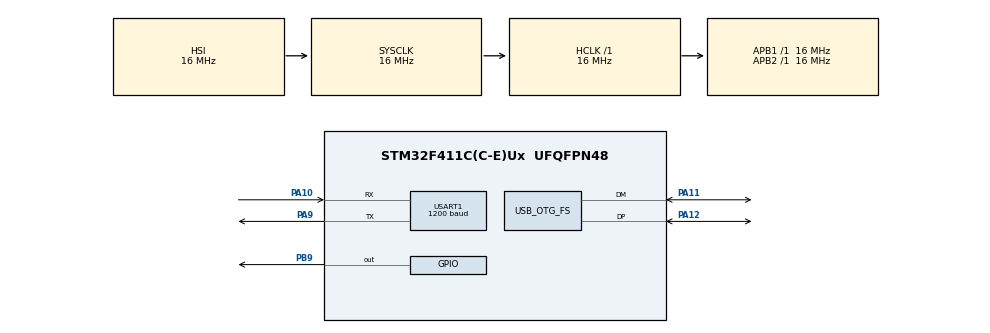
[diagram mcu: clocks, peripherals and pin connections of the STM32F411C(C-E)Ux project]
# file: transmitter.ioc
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Mcu.Family=STM32F4
Mcu.Name=STM32F411C(C-E)Ux
Mcu.Package=UFQFPN48
NVIC.OTG_FS_IRQn=true\:0\:0\:false\:false\:true\:false\:true\:true
NVIC.PriorityGroup=NVIC_PRIORITYGROUP_4
PA10.Mode=Asynchronous
PA10.Signal=USART1_RX
PA11.Mode=Device_Only
PA11.Signal=USB_OTG_FS_DM
PA12.Mode=Device_Only
PA12.Signal=USB_OTG_FS_DP
PA9.Mode=Asynchronous
PA9.Signal=USART1_TX
PB9.GPIO_Speed=GPIO_SPEED_FREQ_HIGH
PB9.PinState=GPIO_PIN_SET
PB9.Signal=GPIO_Output
PH0\ -\ OSC_IN.Mode=HSE-External-Oscillator
PH0\ -\ OSC_IN.Signal=RCC_OSC_IN
PH1\ -\ OSC_OUT.Mode=HSE-External-Oscillator
PH1\ -\ OSC_OUT.Signal=RCC_OSC_OUT
ProjectManager.HeapSize=0x200
ProjectManager.StackSize=0x400
ProjectManager.TargetToolchain=STM32CubeIDE
RCC.48MHZClocksFreq_Value=48000000
RCC.AHBFreq_Value=16000000
RCC.APB1Freq_Value=16000000
RCC.APB2Freq_Value=16000000
RCC.CortexFreq_Value=16000000
RCC.HSE_VALUE=25000000
RCC.HSI_VALUE=16000000
RCC.LSE_VALUE=32768
RCC.PLLM=15
RCC.PLLN=144
RCC.PLLQ=5
RCC.SYSCLKFreq_VALUE=16000000
RCC.VCOOutputFreq_Value=240000000
USART1.BaudRate=1200
USART1.VirtualMode=VM_ASYNC
USB_DEVICE.CLASS_NAME_FS=CDC
USB_DEVICE.VirtualMode=Cdc
USB_DEVICE.VirtualModeFS=Cdc_FS
USB_OTG_FS.VirtualMode=Device_Only
VP_USB_DEVICE_VS_USB_DEVICE_CDC_FS.Mode=CDC_FS
board=custom

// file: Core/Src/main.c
/* USER CODE BEGIN Header */
/**
  ******************************************************************************
  * @file           : main.c
  * @brief          : Main program body
  ******************************************************************************
  * @attention
  *
  * Copyright (c) 2026 STMicroelectronics.
  * All rights reserved.
  *
  * This software is licensed under terms that can be found in the LICENSE file
  * in the root directory of this software component.
  * If no LICENSE file comes with this software, it is provided AS-IS.
  *
  ******************************************************************************
  */
/* USER CODE END Header */
#include "main.h"
#include "usb_device.h"

/* USER CODE BEGIN Includes */
#include "usbd_cdc_if.h"
/* USER CODE END Includes */

UART_HandleTypeDef huart1;

void SystemClock_Config(void);
static void MX_GPIO_Init(void);
static void MX_USART1_UART_Init(void);

/* USER CODE BEGIN 0 */
#include <string.h>
#include "laser_proto.h"

// drain all bytes received from USB (filled by CDC_Receive_FS in ISR context)
uint8_t usb_rx_buffer[MAX_PAYLOAD];
uint16_t usb_rx_len = 0;

/* USER CODE END 0 */

int main(void)
{

  /* MCU Configuration--------------------------------------------------------*/

  /* Reset of all peripherals, Initializes the Flash interface and the Systick. */
  HAL_Init();

  /* Configure the system clock */
  SystemClock_Config();

  /* USER CODE BEGIN SysInit */
	ring_buffer_init(&usb_rx_rb);
  /* USER CODE END SysInit */

  /* Initialize all configured peripherals */
  MX_GPIO_Init();
  MX_USART1_UART_Init();
  MX_USB_DEVICE_Init();

  /* Infinite loop */
  while (1)
  {

    /* USER CODE BEGIN 3 */
  	uint8_t c;
  	while (ring_buffer_consumer(&usb_rx_rb, &c)) {

	        // Сценарий А: Нажат Enter (обычно терминалы шлют '\r')
	        if (c == '\r' || c == '\n') {
	            if (usb_rx_len > 0) {
	                // Включаем диод на плате - индикация начала физической передачи
	                HAL_GPIO_WritePin(GPIOC, GPIO_PIN_13, GPIO_PIN_RESET);

	            	uint8_t frame[MAX_FRAME];
	            	size_t n = build_frame(usb_rx_buffer, (uint8_t)usb_rx_len,
	            		frame, sizeof(frame));
	            	if (n > 0) {
	            		HAL_UART_Transmit(&huart1, frame, (uint16_t)n, HAL_MAX_DELAY);
	            	}

	                // Выключаем диод — передача окончена
	                HAL_GPIO_WritePin(GPIOC, GPIO_PIN_13, GPIO_PIN_SET);

	                // Очищаем буфер (сбрасываем указатель длины на 0)
	                usb_rx_len = 0;

	                // Красиво выводим статус отправки обратно пользователю в терминал
	                uint8_t msg[] = "\r\n>> message sent\r\n";
	                CDC_Transmit_FS(msg, strlen((char*)msg));
	            } else {
	                // Если нажали Enter на пустой строке — просто переводим каретку
	                uint8_t msg[] = "\r\n";
	                CDC_Transmit_FS(msg, strlen((char*)msg));
	            }
	        }

	        // Сценарий Б: Нажат Backspace (код 0x7F для macOS / screen)
	        else if (c == '\b' || c == 0x7F) {
	            if (usb_rx_len > 0) {
	                usb_rx_len--; // Удаляем последний символ из памяти

	                // Стираем символ на экране терминала (шаг назад, пробел, шаг назад)
	                uint8_t erase_seq[] = "\b \b";
	                CDC_Transmit_FS(erase_seq, 3);
	            }
	        }

	        // Сценарий В: Обычный символ (буква, цифра, пробел)
	        else {
	            if (usb_rx_len < sizeof(usb_rx_buffer)) {
	                usb_rx_buffer[usb_rx_len] = c; // Пишем в массив
	                usb_rx_len++;

	                // Сразу выводим букву на экран терминала, чтобы видеть, что пишем
	                CDC_Transmit_FS(&c, 1);
	            }
	            else {
	        		uint8_t bel[] = "\a";
					CDC_Transmit_FS(bel, sizeof(bel) - 1);
	        	}
	        }
	    }
  }
  /* USER CODE END 3 */
}

void SystemClock_Config(void)
{
  RCC_OscInitTypeDef RCC_OscInitStruct = {0};
  RCC_ClkInitTypeDef RCC_ClkInitStruct = {0};

  /** Configure the main internal regulator output voltage
  */
  __HAL_RCC_PWR_CLK_ENABLE();
  __HAL_PWR_VOLTAGESCALING_CONFIG(PWR_REGULATOR_VOLTAGE_SCALE1);

  /** Initializes the RCC Oscillators according to the specified parameters
  * in the RCC_OscInitTypeDef structure.
  */
  RCC_OscInitStruct.OscillatorType = RCC_OSCILLATORTYPE_HSI|RCC_OSCILLATORTYPE_HSE;
  RCC_OscInitStruct.HSEState = RCC_HSE_ON;
  RCC_OscInitStruct.HSIState = RCC_HSI_ON;
  RCC_OscInitStruct.HSICalibrationValue = RCC_HSICALIBRATION_DEFAULT;
  RCC_OscInitStruct.PLL.PLLState = RCC_PLL_ON;
  RCC_OscInitStruct.PLL.PLLSource = RCC_PLLSOURCE_HSE;
  RCC_OscInitStruct.PLL.PLLM = 15;
  RCC_OscInitStruct.PLL.PLLN = 144;
  RCC_OscInitStruct.PLL.PLLP = RCC_PLLP_DIV2;
  RCC_OscInitStruct.PLL.PLLQ = 5;
  if (HAL_RCC_OscConfig(&RCC_OscInitStruct) != HAL_OK)
  {
    Error_Handler();
  }

  /** Initializes the CPU, AHB and APB buses clocks
  */
  RCC_ClkInitStruct.ClockType = RCC_CLOCKTYPE_HCLK|RCC_CLOCKTYPE_SYSCLK
                              |RCC_CLOCKTYPE_PCLK1|RCC_CLOCKTYPE_PCLK2;
  RCC_ClkInitStruct.SYSCLKSource = RCC_SYSCLKSOURCE_HSI;
  RCC_ClkInitStruct.AHBCLKDivider = RCC_SYSCLK_DIV1;
  RCC_ClkInitStruct.APB1CLKDivider = RCC_HCLK_DIV1;
  RCC_ClkInitStruct.APB2CLKDivider = RCC_HCLK_DIV1;

  if (HAL_RCC_ClockConfig(&RCC_ClkInitStruct, FLASH_LATENCY_0) != HAL_OK)
  {
    Error_Handler();
  }
}

static void MX_USART1_UART_Init(void)
{

  huart1.Instance = USART1;
  huart1.Init.BaudRate = 1200;
  huart1.Init.WordLength = UART_WORDLENGTH_8B;
  huart1.Init.StopBits = UART_STOPBITS_1;
  huart1.Init.Parity = UART_PARITY_NONE;
  huart1.Init.Mode = UART_MODE_TX_RX;
  huart1.Init.HwFlowCtl = UART_HWCONTROL_NONE;
  huart1.Init.OverSampling = UART_OVERSAMPLING_16;
  if (HAL_UART_Init(&huart1) != HAL_OK)
  {
    Error_Handler();
  }

}

static void MX_GPIO_Init(void)
{
  GPIO_InitTypeDef GPIO_InitStruct = {0};

  /* GPIO Ports Clock Enable */
  __HAL_RCC_GPIOH_CLK_ENABLE();
  __HAL_RCC_GPIOA_CLK_ENABLE();
  __HAL_RCC_GPIOB_CLK_ENABLE();
	__HAL_RCC_GPIOC_CLK_ENABLE();

  /*Configure GPIO pin Output Level */
  HAL_GPIO_WritePin(GPIOB, GPIO_PIN_9, GPIO_PIN_SET);
	HAL_GPIO_WritePin(GPIOC, GPIO_PIN_13, GPIO_PIN_SET);

  /*Configure GPIO pin : PB9 */
  GPIO_InitStruct.Pin = GPIO_PIN_9;
  GPIO_InitStruct.Mode = GPIO_MODE_OUTPUT_PP;
  GPIO_InitStruct.Pull = GPIO_NOPULL;
  GPIO_InitStruct.Speed = GPIO_SPEED_FREQ_HIGH;
  HAL_GPIO_Init(GPIOB, &GPIO_InitStruct);

  /* USER CODE BEGIN MX_GPIO_Init_2 */
GPIO_InitStruct.Pin = GPIO_PIN_13;
	GPIO_InitStruct.Mode = GPIO_MODE_OUTPUT_PP;
	GPIO_InitStruct.Pull = GPIO_NOPULL;
	GPIO_InitStruct.Speed = GPIO_SPEED_FREQ_LOW;
	HAL_GPIO_Init(GPIOC, &GPIO_InitStruct);
  /* USER CODE END MX_GPIO_Init_2 */
}

void Error_Handler(void)
{
  __disable_irq();
  while (1)
  {
  }
}
